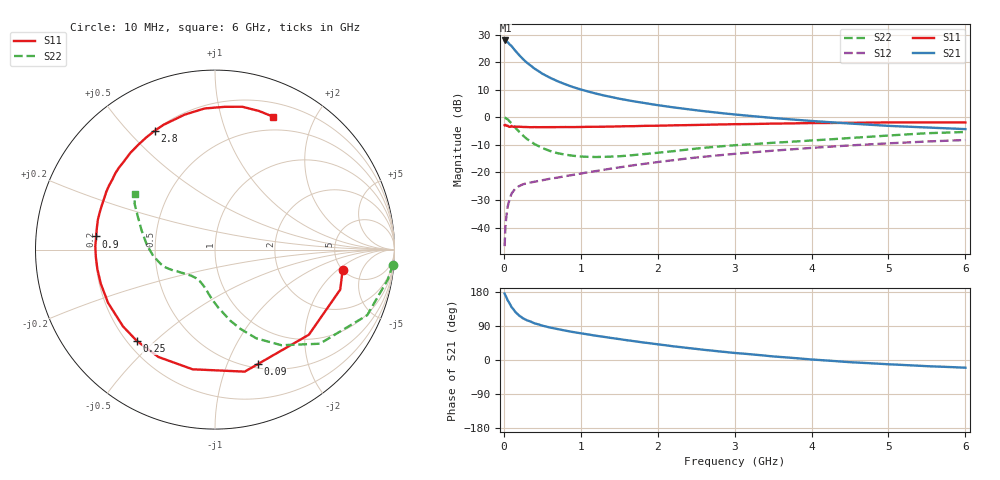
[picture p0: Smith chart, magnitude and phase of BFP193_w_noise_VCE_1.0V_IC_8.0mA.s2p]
! Infineon Technologies  Discrete & RF Semiconductors
! BFP193
! VCE =  1.0 V,  IC =  8.0 mA
! Common Emitter S-Parameters:  Jan 2017
# GHz  S  MA  R  50
!  f  S11  S21  S12  S22
! GHz  MAG  ANG  MAG  ANG  MAG  ANG  MAG  ANG
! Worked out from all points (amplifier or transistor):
!   77 points, 10 MHz to 6 GHz, reference 50 ohm
!   highest |S21| = 27.9 dB at 20 MHz (marker M1)
!   |S21| within 3 dB of that: start of sweep to 127.9 MHz
!   unconditionally stable (mu >= 1): 1.167 GHz to 2.947 GHz
!   at 130 MHz: K = 0.21, MSG = 25.7 dB, |S12| = -26.5 dB
!   at 2.2 GHz: K = 1.05, MAG = 8.2 dB, |S12| = -15.6 dB
!   at 6 GHz: K = 0.94, MSG = 2.0 dB, |S12| = -8.2 dB
!   lowest NFmin = 0.85 dB at 450 MHz
!   S11 on the Smith chart (normalised r, x): 10 MHz: 5.03, -2.33; 90 MHz: 0.54, -1.29; 250 MHz: 0.24, -0.44; 900 MHz: 0.20, +0.05; 2.8 GHz: 0.20, +0.60; 6 GHz: 0.35, +1.47
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0.01  0.7199 -8.9  24.6 175.4  0.0046 85.2  0.9948 -4.8
0.02  0.7325 -17.7  24.85 170.8  0.01 85.1  0.9772 -9.8
0.05  0.706 -42.2  23.11 157.5  0.024 70.5  0.9237 -23.3
0.09  0.6814 -69.6  20.18 143.6  0.0377 58.5  0.8052 -37.7
0.1  0.6998 -76.3  19.66 139.5  0.0413 56.8  0.7849 -41.9
0.15  0.6785 -100.6  16.15 126.5  0.0512 47.3  0.6489 -55.2
0.2  0.6763 -117.8  13.45 117.2  0.0567 42.4  0.5456 -65.0
0.25  0.6696 -130.6  11.38 109.9  0.0611 38.4  0.4661 -72.0
0.3  0.6677 -140.1  9.795 104.8  0.0638 36.8  0.4057 -77.8
0.4  0.6656 -153.5  7.636 96.7  0.068 35.9  0.3265 -86.4
0.5  0.664 -163.3  6.207 90.7  0.0722 36.0  0.2779 -93.3
0.6  0.6643 -170.5  5.241 85.7  0.077 36.7  0.2455 -98.9
0.7  0.6651 -176.4  4.516 81.6  0.0808 38.1  0.2234 -103.6
0.9  0.6661 173.7  3.541 73.8  0.0904 40.7  0.2011 -112.3
1.1  0.6736 165.7  2.932 67.3  0.1013 42.4  0.1921 -119.6
1.5  0.6862 151.9  2.181 55.2  0.1236 44.2  0.1969 -132.7
2.1  0.71 133.9  1.591 38.9  0.1606 43.1  0.2353 -148.0
2.8  0.7428 116.8  1.206 22.7  0.2052 38.9  0.2967 -161.0
3.1  0.754 110.4  1.095 17.0  0.2237 36.4  0.318 -166.9
4.1  0.7889 92.6  0.842 0.0  0.285 27.1  0.388 173.7
5.1  0.8093 77.8  0.691 -12.2  0.3428 16.4  0.4774 155.3
6  0.8082 66.3  0.612 -20.3  0.3884 6.4  0.5427 144.9
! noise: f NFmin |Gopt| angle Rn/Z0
0.45  0.85  0.21  129  0.09
0.9  0.97  0.36  162  0.07
1.9  1.79  0.58  -148  0.12
2.4  2.19  0.64  -129  0.31
